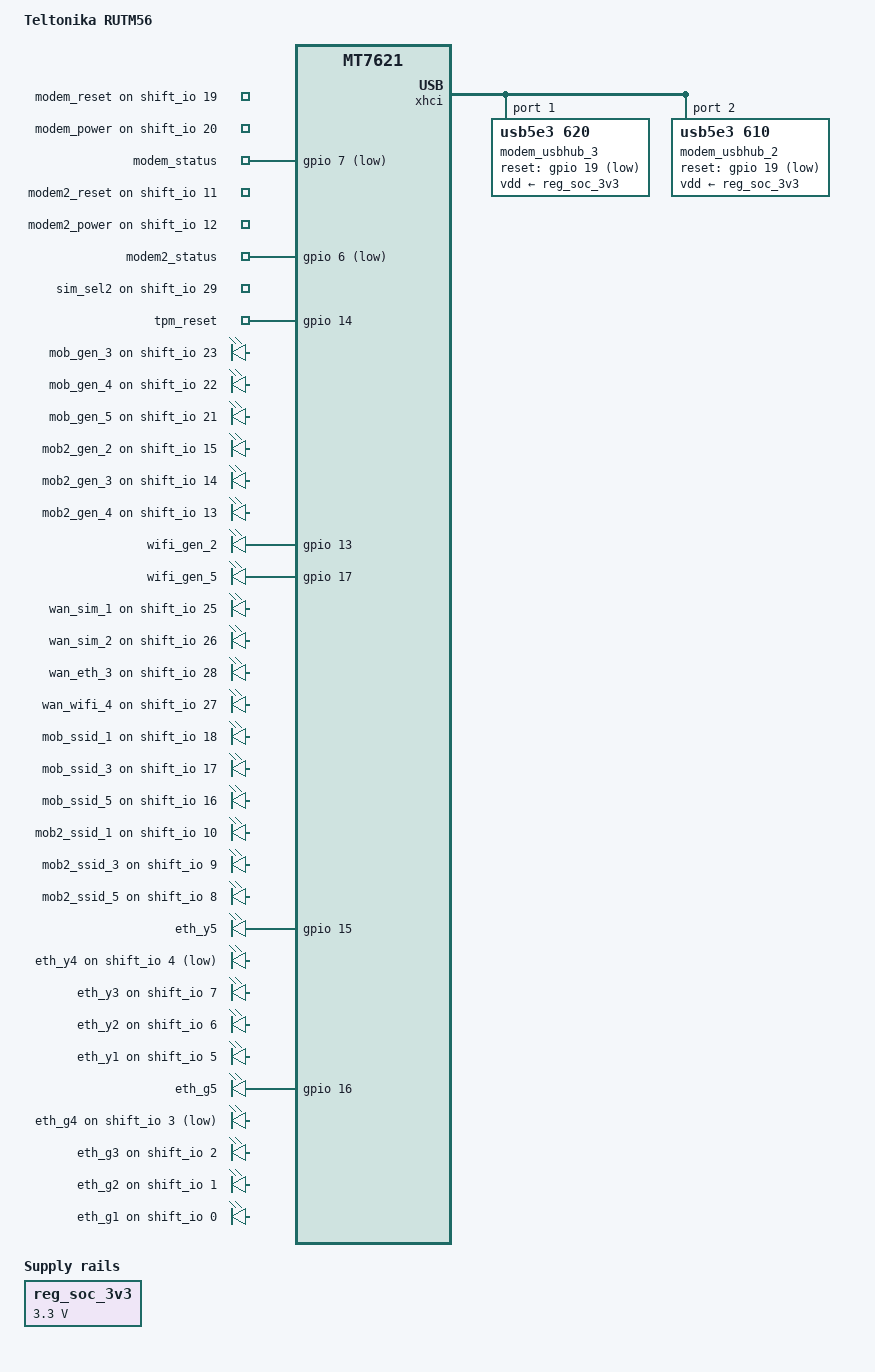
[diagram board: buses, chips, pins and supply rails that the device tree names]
#include "common-mt7621/rutm.dtsi"
#include "common-mt7621/shiftreg.dtsi"
#include "common-mt7621/tpm.dtsi"
#include "common-mt7621/input-output.dtsi"

// PWR, RST  |G0|G10|
// IN, OUT   |G8|G12|
// SR CTRL   |G5|G9|G11|
// WAN	     |S25-S28|
// WIFI	  	 |G13|S17|
// ETH       |S0-S7|G15|G16|
// 5G		 |G7|S16-S23|
// 4G		 |G6|S8-S15|S29|
// TPM       |G14|
/ {
	model = "Teltonika RUTM56";

	ext_io {
		shift_io: shift_io@0 {
			registers-number = <4>;
			/delete-property/ enable-gpios;
		};
	};

	gpio-export {
		compatible = "gpio-export";
		#size-cells = <0>;

		gpio_modem_reset_1 {
			gpio-export,name = "modem_reset";
			gpio-export,output = <0>;
			gpios = <&shift_io 19 GPIO_ACTIVE_HIGH>;
		};

		gpio_modem_power_1 {
			gpio-export,name = "modem_power";
			gpio-export,output = <1>; // tmp
			gpios = <&shift_io 20 GPIO_ACTIVE_HIGH>;
		};

		gpio_modem_status_1 {
			gpio-export,name = "modem_status";
			gpio-export,input = <0>;
			gpios = <&gpio 7 GPIO_ACTIVE_LOW>;
		};

		gpio_modem_reset_2 {
			gpio-export,name = "modem2_reset";
			gpio-export,output = <0>;
			gpios = <&shift_io 11 GPIO_ACTIVE_HIGH>;
		};

		gpio_modem_power_2 {
			gpio-export,name = "modem2_power";
			gpio-export,output = <1>; // tmp
			gpios = <&shift_io 12 GPIO_ACTIVE_HIGH>;
		};

		gpio_modem_status_2 {
			gpio-export,name = "modem2_status";
			gpio-export,input = <0>;
			gpios = <&gpio 6 GPIO_ACTIVE_LOW>;
		};

		gpio_sim_select_2 {
			gpio-export,name = "sim_sel2";
			gpio-export,output = <0>;
			gpios = <&shift_io 29 GPIO_ACTIVE_HIGH>;
		};

		gpio_tpm_reset {
			gpio-export,name = "tpm_reset";
			gpio-export,output = <1>;
			gpios = <&gpio 14 GPIO_ACTIVE_HIGH>; // active low, but doesn't work with gpio-export,output = <0> correctly on startup
		};
	};

	leds {
		led_gen_3 {
			label = "mob_gen_3";
			gpios = <&shift_io 23 GPIO_ACTIVE_HIGH>;
		};

		led_gen_4 {
			label = "mob_gen_4";
			gpios = <&shift_io 22 GPIO_ACTIVE_HIGH>;
		};

		led_gen_5 {
			label = "mob_gen_5";
			gpios = <&shift_io 21 GPIO_ACTIVE_HIGH>;
		};

		led_gen2_2 {
			label = "mob2_gen_2";
			gpios = <&shift_io 15 GPIO_ACTIVE_HIGH>;
		};

		led_gen2_3 {
			label = "mob2_gen_3";
			gpios = <&shift_io 14 GPIO_ACTIVE_HIGH>;
		};

		led_gen2_4 {
			label = "mob2_gen_4";
			gpios = <&shift_io 13 GPIO_ACTIVE_HIGH>;
		};

		led_wifi_24 {
			label = "wifi_gen_2";
			gpios = <&gpio 13 GPIO_ACTIVE_HIGH>;
		};

		led_wifi_50 {
			label = "wifi_gen_5";
			gpios = <&gpio 17 GPIO_ACTIVE_HIGH>;
		};

		led_wan_sim1 {
			label = "wan_sim_1";
			gpios = <&shift_io 25 GPIO_ACTIVE_HIGH>;
		};

		led_wan_sim2 {
			label = "wan_sim_2";
			gpios = <&shift_io 26 GPIO_ACTIVE_HIGH>;
		};

		led_wan_eth {
			label = "wan_eth_3";
			gpios = <&shift_io 28 GPIO_ACTIVE_HIGH>;
		};

		led_wan_wifi {
			label = "wan_wifi_4";
			gpios = <&shift_io 27 GPIO_ACTIVE_HIGH>;
		};

		led_ssid_1 {
			label = "mob_ssid_1";
			gpios = <&shift_io 18 GPIO_ACTIVE_HIGH>;
			linux,default-trigger = "timer";
		};

		led_ssid_3 {
			label = "mob_ssid_3";
			gpios = <&shift_io 17 GPIO_ACTIVE_HIGH>;
			linux,default-trigger = "timer";
		};

		led_ssid_5 {
			label = "mob_ssid_5";
			gpios = <&shift_io 16 GPIO_ACTIVE_HIGH>;
			linux,default-trigger = "timer";
		};

		led_ssid2_1 {
			label = "mob2_ssid_1";
			gpios = <&shift_io 10 GPIO_ACTIVE_HIGH>;
			linux,default-trigger = "timer";
		};

		led_ssid2_3 {
			label = "mob2_ssid_3";
			gpios = <&shift_io 9 GPIO_ACTIVE_HIGH>;
			linux,default-trigger = "timer";
		};

		led_ssid2_5 {
			label = "mob2_ssid_5";
			gpios = <&shift_io 8 GPIO_ACTIVE_HIGH>;
			linux,default-trigger = "timer";
		};

		led_eth_y5 {
			label = "eth_y5";
			gpios = <&gpio 15 GPIO_ACTIVE_HIGH>;
		};

		led_eth_y4 {
			label = "eth_y4";
			gpios = <&shift_io 4 GPIO_ACTIVE_LOW>;
		};

		led_eth_y3 {
			label = "eth_y3";
			gpios = <&shift_io 7 GPIO_ACTIVE_HIGH>;
		};

		led_eth_y2 {
			label = "eth_y2";
			gpios = <&shift_io 6 GPIO_ACTIVE_HIGH>;
		};

		led_eth_y1 {
			label = "eth_y1";
			gpios = <&shift_io 5 GPIO_ACTIVE_HIGH>;
		};

		led_eth_g5 {
			label = "eth_g5";
			gpios = <&gpio 16 GPIO_ACTIVE_HIGH>;
		};

		led_eth_g4 {
			label = "eth_g4";
			gpios = <&shift_io 3 GPIO_ACTIVE_LOW>;
		};

		led_eth_g3 {
			label = "eth_g3";
			gpios = <&shift_io 2 GPIO_ACTIVE_HIGH>;
		};

		led_eth_g2 {
			label = "eth_g2";
			gpios = <&shift_io 1 GPIO_ACTIVE_HIGH>;
		};

		led_eth_g1 {
			label = "eth_g1";
			gpios = <&shift_io 0 GPIO_ACTIVE_HIGH>;
		};
	};

	tlt_gpios {
		gpiochip_info {
			hw_0 {
				gpiochip_3 = <32>;
			};
		};

		misc {
			GPIO_125 {
				line_name = "GPIO_SIM_SELECT_2";
			};
			GPIO_115 {
				line_name = "GPIO_MODEM_RESET_1";
			};
			GPIO_116 {
				line_name = "GPIO_MODEM_POWER_1";
			};
			GPIO_7 {
				line_name = "GPIO_MODEM_STATUS_1";
				active_low;
			};
			GPIO_107 {
				line_name = "GPIO_MODEM_RESET_2";
			};
			GPIO_108 {
				line_name = "GPIO_MODEM_POWER_2";
			};
			GPIO_6 {
				line_name = "GPIO_MODEM_STATUS_2";
				active_low;
			};
			GPIO_14 {
				line_name = "GPIO_TPM_RESET";
			};
		};
	};

	reg_soc_3v3: reg-soc-3v3 {
		compatible = "regulator-fixed";
		regulator-min-microvolt = <3300000>;
		regulator-max-microvolt = <3300000>;
		regulator-name = "soc_3v3";
	};
};

&switch0 {
	ports {
		port@0 {
			status = "okay";
			label = "lan1";
		};

		port@1 {
			status = "okay";
			label = "lan2";
		};

		port@2 {
			status = "okay";
			label = "lan3";
		};

		port@3 {
			status = "okay";
			label = "lan4";
		};
	};
};

&xhci {
	modem_usbhub_3: hub@1 {
		compatible = "usb5e3,620";
		reg = <1>;
		reset-gpios = <&gpio 19 GPIO_ACTIVE_LOW>;
		vdd-supply = <&reg_soc_3v3>;
		peer-hub = <&modem_usbhub_2>;
	};

	modem_usbhub_2: hub@2 {
		compatible = "usb5e3,610";
		reg = <2>;
		reset-gpios = <&gpio 19 GPIO_ACTIVE_LOW>;
		vdd-supply = <&reg_soc_3v3>;
		peer-hub = <&modem_usbhub_3>;
	};
};

&mnfinfo {
	simpin3 {
		default = "";
		sec;
	};

	simpin4 {
		default = "";
		sec;
	};

	mob_vidpid_2 {
		reg = <&config 0x84 0x4>;
		min-res-len = <0xa>;
		type = "vidpid";
		default = "";
		log;
	};

	sim_cfg {
		default = "1111020_1122020_2210120_2220220";
	};
};
